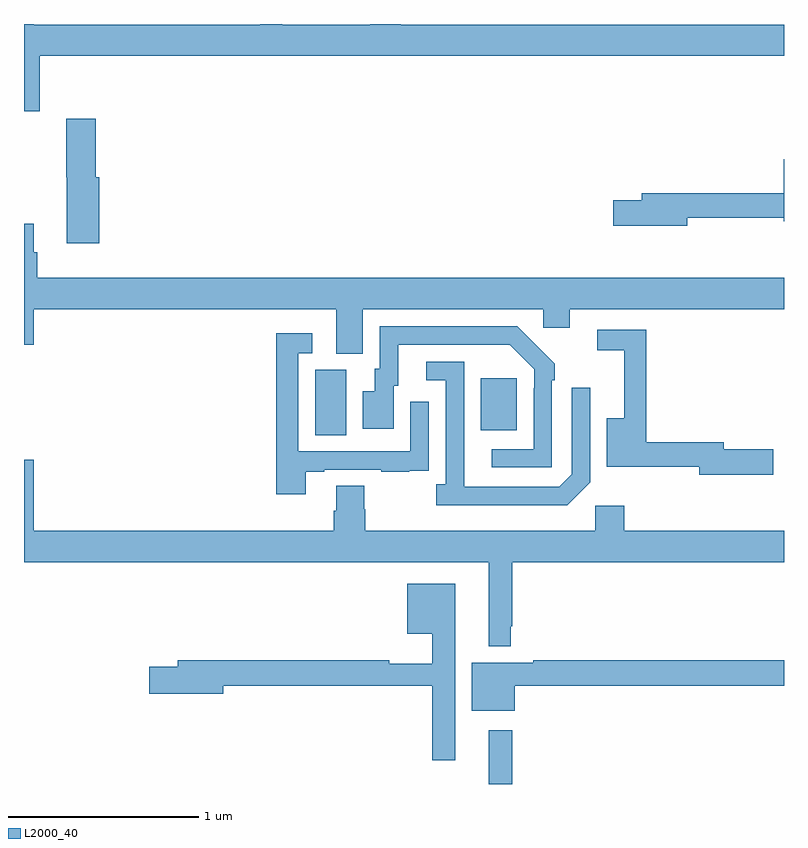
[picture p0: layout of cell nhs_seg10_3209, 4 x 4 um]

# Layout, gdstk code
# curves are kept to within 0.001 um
import gdstk
lib = gdstk.Library(unit=1e-6, precision=1e-09)
def R(c, l, rs):  # rectangles x0, y0, x1, y1
    for r in rs: c.add(gdstk.rectangle(r[:2], r[2:], *l))
def P(c, l, *ps):  # polygons
    for p in ps: c.add(gdstk.Polygon(p, *l))
L2000_40 = (2000, 40)

nhs_seg10_3209 = lib.new_cell('nhs_seg10_3209')
R(nhs_seg10_3209, L2000_40, [(287.447,1280.5,287.569,1280.782), (286.532,1282.336,286.696,1282.68), (287.405,1282.361,287.593,1282.636)])
P(nhs_seg10_3209, L2000_40, [(285.083,1284.332),(289,1284.332),(289,1284.496),(286.982,1284.496),(286.982,1284.5),(286.822,1284.5),(286.822,1284.496),(286.36,1284.496),(286.36,1284.5),(286.243,1284.5),(286.243,1284.496),(285.052,1284.496),(285.052,1284.5),(285,1284.5),(285,1284.042),(285.083,1284.042)],
  [(285.395,1283.694),(285.377,1283.694),(285.377,1284.001),(285.223,1284.001),(285.223,1283.694),(285.224,1283.694),(285.224,1283.346),(285.395,1283.346)],
  [(288.49,1283.481),(288.998,1283.481),(288.998,1283.462),(289,1283.462),(289,1283.788),(288.998,1283.788),(288.998,1283.609),(288.251,1283.609),(288.251,1283.573),(288.102,1283.573),(288.102,1283.438),(288.49,1283.438)],
  [(286.783,1283),(287.733,1283),(287.733,1282.902),(287.872,1282.902),(287.872,1283),(289,1283),(289,1283.164),(285.071,1283.164),(285.071,1283.298),(285.052,1283.298),(285.052,1283.449),(285,1283.449),(285,1282.812),(285.052,1282.812),(285.052,1283),(286.643,1283),(286.643,1282.765),(286.783,1282.765)],
  [(287.778,1282.625),(287.793,1282.625),(287.793,1282.713),(287.596,1282.908),(286.872,1282.908),(286.872,1282.686),(286.847,1282.686),(286.847,1282.567),(286.784,1282.567),(286.784,1282.371),(286.945,1282.371),(286.945,1282.596),(286.969,1282.596),(286.969,1282.812),(287.557,1282.812),(287.685,1282.683),(287.685,1282.583),(287.682,1282.583),(287.682,1282.263),(287.463,1282.263),(287.463,1282.167),(287.778,1282.167)],
  [(288.943,1282.262),(288.682,1282.262),(288.682,1282.298),(288.275,1282.298),(288.275,1282.89),(288.018,1282.89),(288.018,1282.782),(288.158,1282.782),(288.158,1282.426),(288.068,1282.426),(288.068,1282.17),(288.554,1282.17),(288.554,1282.127),(288.943,1282.127)],
  [(286.483,1282.143),(286.579,1282.143),(286.579,1282.155),(286.879,1282.155),(286.879,1282.143),(287.027,1282.143),(287.027,1282.149),(287.129,1282.149),(287.129,1282.258),(287.13,1282.258),(287.13,1282.513),(287.034,1282.513),(287.034,1282.251),(286.443,1282.251),(286.443,1282.767),(286.516,1282.767),(286.516,1282.873),(286.327,1282.873),(286.327,1282.026),(286.483,1282.026)],
  [(287.979,1282.089),(287.979,1282.585),(287.883,1282.585),(287.883,1282.131),(287.817,1282.065),(287.317,1282.065),(287.316,1282.722),(287.118,1282.722),(287.118,1282.626),(287.22,1282.626),(287.22,1282.078),(287.169,1282.078),(287.169,1281.968),(287.858,1281.968)],
  [(286.796,1281.945),(286.791,1281.945),(286.791,1282.07),(286.643,1282.07),(286.643,1281.938),(286.631,1281.938),(286.631,1281.832),(285.052,1281.832),(285.052,1282.207),(285,1282.207),(285,1281.668),(287.447,1281.668),(287.447,1281.224),(287.562,1281.224),(287.562,1281.331),(287.569,1281.331),(287.569,1281.668),(289,1281.668),(289,1281.832),(288.158,1281.832),(288.158,1281.964),(288.006,1281.964),(288.006,1281.832),(286.796,1281.832)],
  [(287.269,1281.553),(287.018,1281.553),(287.018,1281.29),(287.148,1281.29),(287.148,1281.133),(286.922,1281.133),(286.922,1281.152),(285.809,1281.152),(285.809,1281.116),(285.66,1281.116),(285.66,1280.974),(286.048,1280.974),(286.048,1281.016),(287.148,1281.016),(287.148,1280.625),(287.269,1280.625)],
  [(287.584,1281.016),(289,1281.016),(289,1281.152),(287.68,1281.152),(287.68,1281.139),(287.357,1281.139),(287.357,1280.885),(287.584,1280.885)])

lib.write_gds('nhs_seg10_3209.gds')
